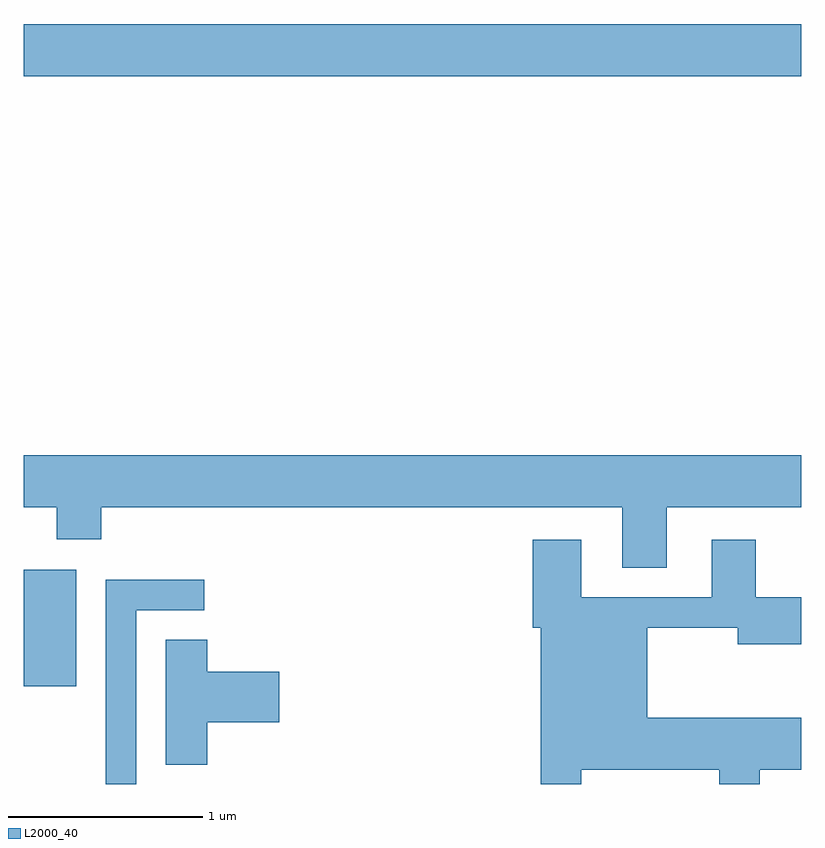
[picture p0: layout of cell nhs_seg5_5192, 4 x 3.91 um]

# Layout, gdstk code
import gdstk
lib = gdstk.Library(unit=1e-6, precision=1e-09)
def R(c, l, rs):  # rectangles x0, y0, x1, y1
    for r in rs: c.add(gdstk.rectangle(r[:2], r[2:], *l))
def P(c, l, *ps):  # polygons
    for p in ps: c.add(gdstk.Polygon(p, *l))
L2000_40 = (2000, 40)

nhs_seg5_5192 = lib.new_cell('nhs_seg5_5192')
R(nhs_seg5_5192, L2000_40, [(339.611,1422.576,339.879,1423.174), (339.611,1425.716,343.611,1425.984)])
P(nhs_seg5_5192, L2000_40, [(342.919,1423.496),(343.611,1423.496),(343.611,1423.764),(339.611,1423.764),(339.611,1423.496),(339.781,1423.496),(339.781,1423.331),(340.009,1423.331),(340.009,1423.496),(342.691,1423.496),(342.691,1423.186),(342.919,1423.186)],
  [(342.479,1422.146),(343.191,1422.146),(343.191,1422.072),(343.399,1422.072),(343.399,1422.146),(343.611,1422.146),(343.611,1422.414),(342.819,1422.414),(342.819,1422.876),(343.286,1422.876),(343.286,1422.791),(343.611,1422.791),(343.611,1423.034),(343.379,1423.034),(343.379,1423.329),(343.151,1423.329),(343.151,1423.034),(342.479,1423.034),(342.479,1423.329),(342.231,1423.329),(342.231,1422.876),(342.271,1422.876),(342.271,1422.072),(342.479,1422.072)],
  [(340.189,1422.966),(340.538,1422.966),(340.538,1423.124),(340.031,1423.124),(340.031,1422.072),(340.189,1422.072)],
  [(340.554,1422.391),(340.924,1422.391),(340.924,1422.649),(340.554,1422.649),(340.554,1422.814),(340.341,1422.814),(340.341,1422.171),(340.554,1422.171)])

lib.write_gds('nhs_seg5_5192.gds')
